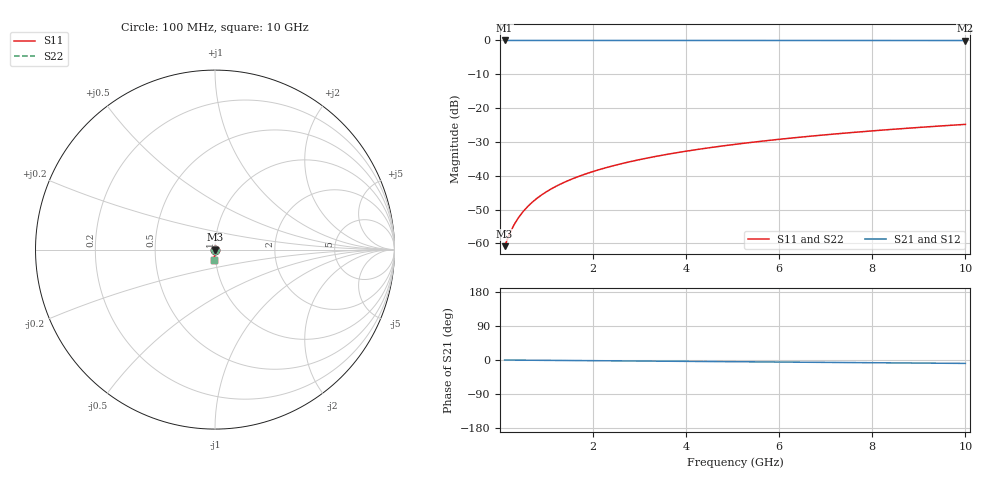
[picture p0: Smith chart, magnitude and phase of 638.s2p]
# Hz S RI R 50.00
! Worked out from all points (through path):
!   100 points, 100 MHz to 10 GHz, reference 50 ohm
!   highest |S21| = -0.01 dB at 100 MHz (marker M1); lowest = 0.0 dB at 10 GHz (marker M2)
!   group delay of S21, straight-line fit = 2.49 ps
!   lowest |S11| = -60.8 dB at 100 MHz (marker M3), VSWR 1.00, Z = 50.1 - j0.0578 ohm
!   |S11| at or under -10 dB: start of sweep to end of sweep
!   |S22| runs from -60.8 to -24.8 dB; largest |S21 - S12| = 0
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1e8  0.000702 -0.000577  0.9993 -0.00156  0.9993 -0.00156  0.000702 -0.000577
2e8  0.000703 -0.00115  0.9993 -0.00313  0.9993 -0.00313  0.000703 -0.00115
3e8  0.000701 -0.00173  0.9993 -0.00469  0.9993 -0.00469  0.000701 -0.00173
4e8  0.000697 -0.00231  0.9993 -0.00625  0.9993 -0.00625  0.000697 -0.00231
5e8  0.00069 -0.00289  0.9992 -0.00782  0.9992 -0.00782  0.00069 -0.00289
6e8  0.000681 -0.00346  0.9992 -0.00938  0.9992 -0.00938  0.000681 -0.00346
7e8  0.000671 -0.00404  0.9992 -0.0109  0.9992 -0.0109  0.000671 -0.00404
9e8  0.000643 -0.00519  0.9992 -0.0141  0.9992 -0.0141  0.000643 -0.00519
1e9  0.000627 -0.00577  0.9991 -0.0156  0.9991 -0.0156  0.000627 -0.00577
1.2e9  0.000588 -0.00692  0.9991 -0.0188  0.9991 -0.0188  0.000588 -0.00692
1.5e9  0.000516 -0.00865  0.9989 -0.0234  0.9989 -0.0234  0.000516 -0.00865
1.8e9  0.000427 -0.0104  0.9988 -0.0281  0.9988 -0.0281  0.000427 -0.0104
2.1e9  0.000322 -0.0121  0.9986 -0.0328  0.9986 -0.0328  0.000322 -0.0121
2.5e9  0.000157 -0.0144  0.9984 -0.0391  0.9984 -0.0391  0.000157 -0.0144
2.9e9  -3.8e-05 -0.0167  0.9981 -0.0453  0.9981 -0.0453  -3.8e-05 -0.0167
3.4e9  -0.000322 -0.0196  0.9976 -0.0531  0.9976 -0.0531  -0.000322 -0.0196
4.2e9  -0.00087 -0.0242  0.9967 -0.0656  0.9967 -0.0656  -0.00087 -0.0242
5.1e9  -0.00162 -0.0293  0.9956 -0.0796  0.9956 -0.0796  -0.00162 -0.0293
5.9e9  -0.00242 -0.0339  0.9943 -0.0921  0.9943 -0.0921  -0.00242 -0.0339
6.7e9  -0.00332 -0.0384  0.9929 -0.1045  0.9929 -0.1045  -0.00332 -0.0384
8.4e9  -0.00562 -0.048  0.9893 -0.1308  0.9893 -0.1308  -0.00562 -0.048
1e10  -0.00825 -0.0568  0.9852 -0.1555  0.9852 -0.1555  -0.00825 -0.0568
